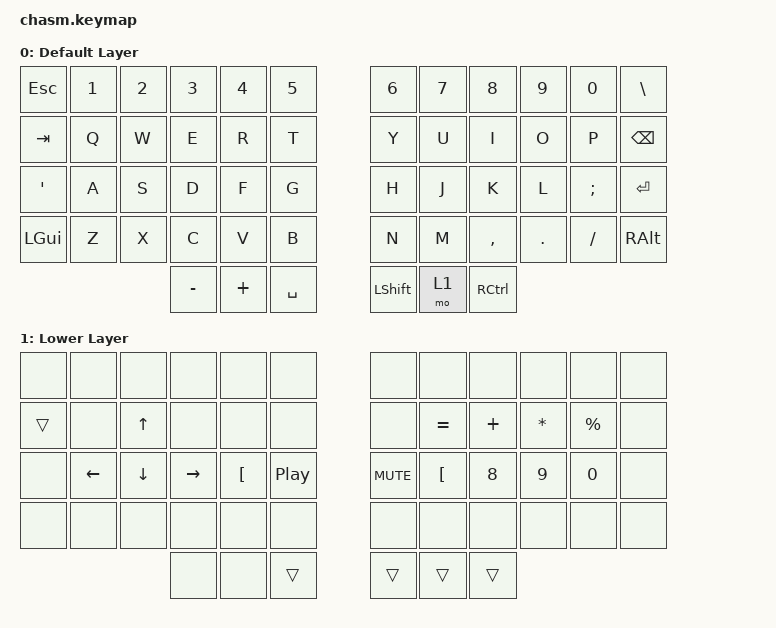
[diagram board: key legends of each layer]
/*
 * Copyright (c) 2021 The ZMK Contributors
 *
 * SPDX-License-Identifier: MIT
 */

#include <behaviors.dtsi>
#include <dt-bindings/zmk/keys.h>
#include <dt-bindings/zmk/bt.h>
#include <dt-bindings/zmk/outputs.h>

#define LOWER 1
#define RAISE 2

#define L_SPC &lt LOWER SPACE
#define R_RET &lt RAISE RET

/ {
    keymap {
        compatible = "zmk,keymap";

        default_layer {
            display-name = "Default Layer";
            bindings = <
&kp ESC      &kp N1    &kp N2    &kp N3    &kp N4    &kp N5         &kp N6     &kp N7    &kp N8    &kp N9   &kp N0      &kp BSLH
&kp TAB      &kp Q     &kp W     &kp E     &kp R     &kp T          &kp Y      &kp U     &kp I     &kp O    &kp P       &kp BSPC
&kp SQT      &kp A     &kp S     &kp D     &kp F     &kp G          &kp H      &kp J     &kp K     &kp L    &kp SEMI    &kp RET
&kp LGUI     &kp Z     &kp X     &kp C     &kp V     &kp B          &kp N      &kp M     &kp COMMA &kp DOT  &kp FSLH    &kp RALT
                                 &kp MINUS &kp PLUS  &kp SPACE      &kp LSHIFT &mo 1     &kp RCTRL
            >;
        };
        lower_layer {
            display-name = "Lower Layer";
            bindings = <
&none       &none     &none     &none     &none     &none           &none      &none     &none     &none    &none       &none
&trans      &none     &kp UP    &none     &none     &none           &none      &kp EQUAL &kp PLUS  &kp STAR &kp PRCNT   &none
&none       &kp LEFT  &kp DOWN  &kp RIGHT &kp LBKT  &kp C_PP        &kp C_MUTE &kp LBKT  &kp N8    &kp N9   &kp N0      &none
&none       &none     &none     &none     &none     &none           &none      &none     &none     &none    &none       &none
                                &none     &none     &trans          &trans     &trans    &trans
            >;
        };
    };
};
